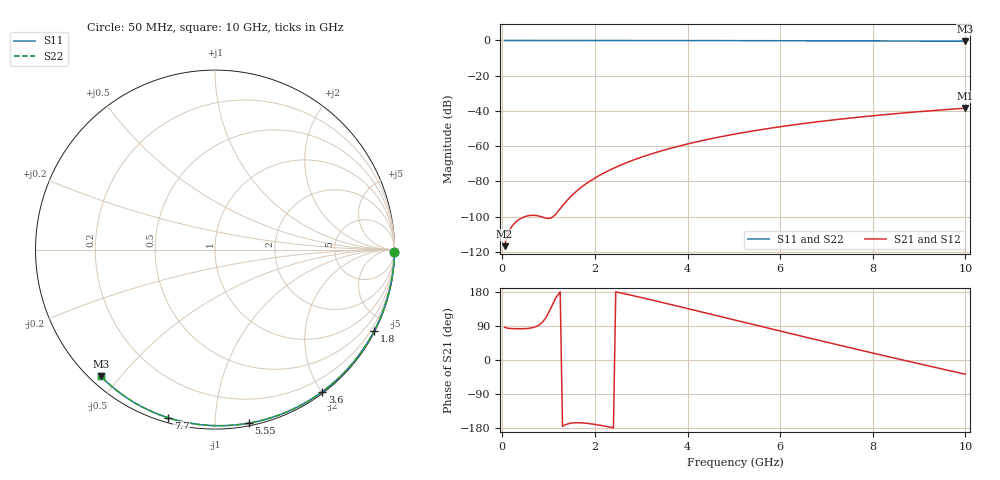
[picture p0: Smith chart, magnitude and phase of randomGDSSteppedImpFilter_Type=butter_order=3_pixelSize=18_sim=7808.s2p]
! freq	dB(S11)	phase(S11)	dB(S12)	phase(S12)
!  dB(S21)	phase(S21)	dB(S22)	phase(S22)
!S-par simulation data
#  GHz  S  DB  R 50
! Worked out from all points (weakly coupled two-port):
!   200 points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, 50 MHz to 10 GHz, reference 50 ohm
!   highest |S21| = -38.43 dB at 10 GHz (marker M1); lowest = -116.7 dB at 50 MHz (marker M2)
!   lowest |S11| = -0.4 dB at 10 GHz (marker M3), VSWR 38.81, Z = 1.54 - j22.2 ohm
!   |S11| at or under -10 dB: nowhere
!   |S22| runs from -0.4 to 0.0 dB; largest |S21 - S12| = 0
!   S11 on the Smith chart (normalised r, x): 50 MHz: open; 1.8 GHz: 0.04, -4.16; 3.6 GHz: 0.02, -2.01; 5.55 GHz: 0.02, -1.21; 7.7 GHz: 0.02, -0.76; 10 GHz: 0.03, -0.44
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0.05  -0.00 -0.8  -116.70 86.4  -116.70 86.4  -0.00 -0.8
0.9  -0.02 -13.7  -100.50 104.8  -100.50 104.8  -0.02 -13.7
1.75  -0.03 -26.3  -82.41 -166.2  -82.41 -166.2  -0.03 -26.3
1.8  -0.03 -27.1  -81.45 -166.8  -81.45 -166.8  -0.03 -27.1
1.85  -0.04 -27.8  -80.55 -167.4  -80.55 -167.4  -0.04 -27.8
1.9  -0.04 -28.5  -79.68 -168.2  -79.68 -168.2  -0.04 -28.5
2.05  -0.04 -30.7  -77.27 -170.9  -77.27 -170.9  -0.04 -30.7
2.25  -0.04 -33.7  -74.43 -175.3  -74.43 -175.3  -0.04 -33.7
2.45  -0.05 -36.6  -71.93 179.7  -71.93 179.7  -0.05 -36.6
2.65  -0.05 -39.4  -69.69 174.5  -69.69 174.5  -0.05 -39.4
3  -0.06 -44.5  -66.26 164.9  -66.26 164.9  -0.06 -44.5
3.4  -0.07 -50.1  -62.91 153.4  -62.91 153.4  -0.07 -50.1
3.6  -0.07 -52.9  -61.42 147.6  -61.42 147.6  -0.07 -52.9
4.3  -0.09 -62.5  -56.90 126.9  -56.90 126.9  -0.09 -62.5
5.05  -0.11 -72.5  -52.98 104.6  -52.98 104.6  -0.11 -72.5
5.55  -0.13 -79.0  -50.75 89.7  -50.75 89.7  -0.13 -79.0
6.1  -0.15 -86.0  -48.58 73.5  -48.58 73.5  -0.15 -86.0
6.7  -0.18 -93.5  -46.49 55.9  -46.49 55.9  -0.18 -93.5
7.7  -0.24 -105.5  -43.51 26.9  -43.51 26.9  -0.24 -105.5
8.35  -0.29 -113.2  -41.86 8.4  -41.86 8.4  -0.29 -113.2
9.15  -0.36 -122.4  -40.07 -14.1  -40.07 -14.1  -0.36 -122.4
10  -0.45 -132.1  -38.43 -37.6  -38.43 -37.6  -0.45 -132.1
